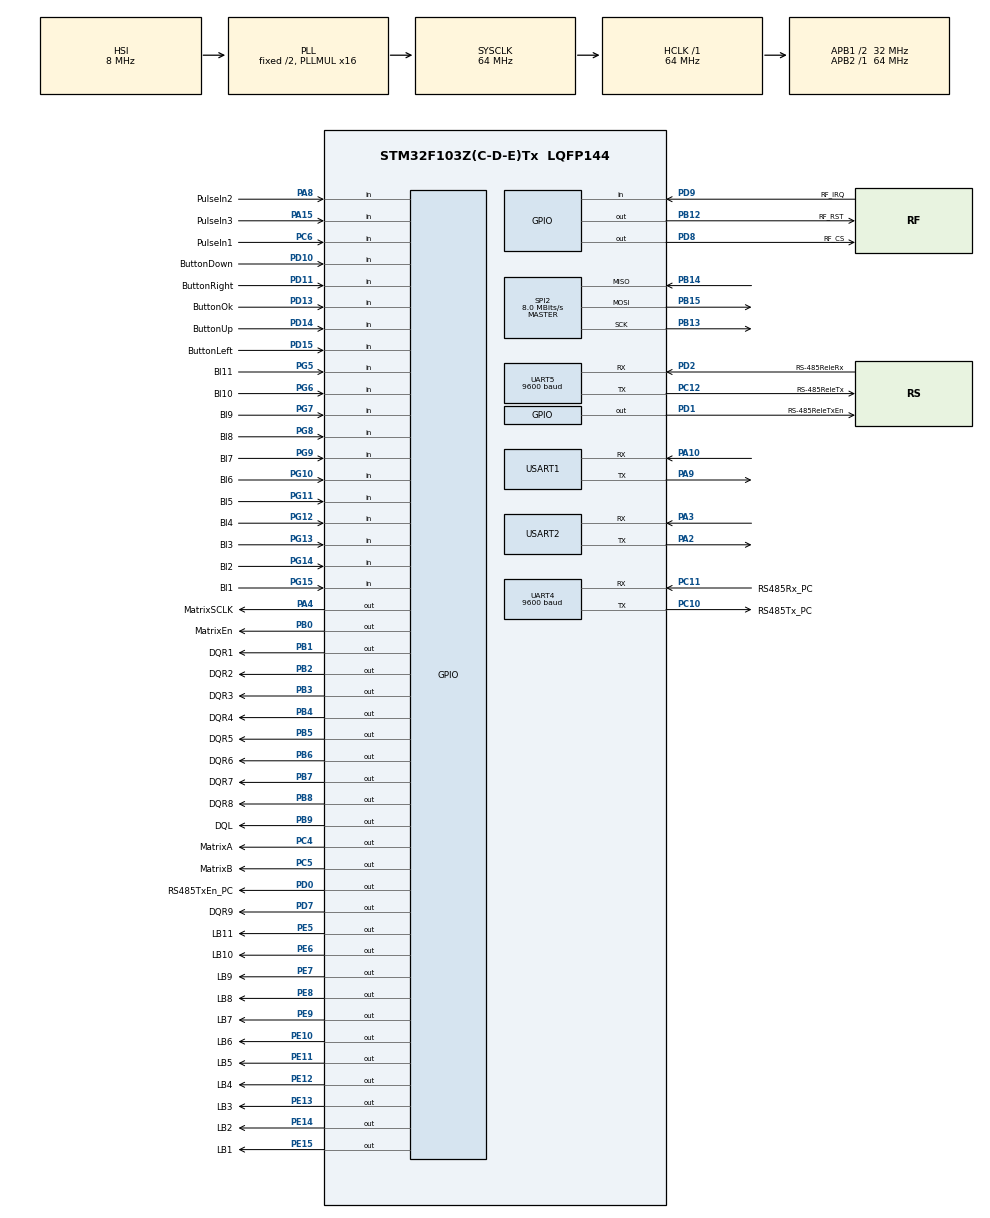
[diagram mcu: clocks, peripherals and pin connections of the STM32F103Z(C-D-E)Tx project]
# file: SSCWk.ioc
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FREERTOS.HEAP_NUMBER=1
FREERTOS.Tasks01=defaultTask,3,128,StartDefaultTask,Default,NULL,Dynamic,NULL,NULL;myTask02,-3,128,StartTask02,Default,NULL,Dynamic,NULL,NULL;myTask03,-3,128,StartTask03,Default,NULL,Dynamic,NULL,NULL;myTask04,-3,128,StartTask04,Default,NULL,Dynamic,NULL,NULL
FREERTOS.configTOTAL_HEAP_SIZE=5120
Mcu.Family=STM32F1
Mcu.Name=STM32F103Z(C-D-E)Tx
Mcu.Package=LQFP144
NVIC.PriorityGroup=NVIC_PRIORITYGROUP_4
NVIC.TIM6_IRQn=true\:0\:0\:false\:false\:true\:false\:false
NVIC.TimeBase=TIM6_IRQn
NVIC.TimeBaseIP=TIM6
PA10.Mode=Asynchronous
PA10.Signal=USART1_RX
PA13.Mode=Serial_Wire
PA13.Signal=SYS_JTMS-SWDIO
PA14.Mode=Serial_Wire
PA14.Signal=SYS_JTCK-SWCLK
PA15.GPIO_Label=PulseIn3
PA15.Signal=GPIO_Input
PA2.Mode=Asynchronous
PA2.Signal=USART2_TX
PA3.Mode=Asynchronous
PA3.Signal=USART2_RX
PA4.GPIO_Label=MatrixSCLK
PA4.Signal=GPIO_Output
PA8.GPIO_Label=PulseIn2
PA8.Signal=GPIO_Input
PA9.Mode=Asynchronous
PA9.Signal=USART1_TX
PB0.GPIO_Label=MatrixEn
PB0.Signal=GPIO_Output
PB1.GPIO_Label=DQR1
PB1.Signal=GPIO_Output
PB12.GPIO_Label=RF_RST
PB12.PinState=GPIO_PIN_SET
PB12.Signal=GPIO_Output
PB13.Mode=Full_Duplex_Master
PB13.Signal=SPI2_SCK
PB14.GPIO_PuPd=GPIO_PULLUP
PB14.Mode=Full_Duplex_Master
PB14.Signal=SPI2_MISO
PB15.Mode=Full_Duplex_Master
PB15.Signal=SPI2_MOSI
PB2.GPIO_Label=DQR2
PB2.Signal=GPIO_Output
PB3.GPIO_Label=DQR3
PB3.Signal=GPIO_Output
PB4.GPIO_Label=DQR4
PB4.Signal=GPIO_Output
PB5.GPIO_Label=DQR5
PB5.Signal=GPIO_Output
PB6.GPIO_Label=DQR6
PB6.Signal=GPIO_Output
PB7.GPIO_Label=DQR7
PB7.Signal=GPIO_Output
PB8.GPIO_Label=DQR8
PB8.Signal=GPIO_Output
PB9.GPIO_Label=DQL
PB9.Signal=GPIO_Output
PC10.GPIO_Label=RS485Tx_PC
PC10.Mode=Asynchronous
PC10.Signal=UART4_TX
PC11.GPIO_Label=RS485Rx_PC
PC11.Mode=Asynchronous
PC11.Signal=UART4_RX
PC12.GPIO_Label=RS-485ReleTx
PC12.Mode=Asynchronous
PC12.Signal=UART5_TX
PC14-OSC32_IN.Mode=LSE-External-Oscillator
PC14-OSC32_IN.Signal=RCC_OSC32_IN
PC15-OSC32_OUT.Mode=LSE-External-Oscillator
PC15-OSC32_OUT.Signal=RCC_OSC32_OUT
PC4.GPIO_Label=MatrixA
PC4.Signal=GPIO_Output
PC5.GPIO_Label=MatrixB
PC5.Signal=GPIO_Output
PC6.GPIO_Label=PulseIn1
PC6.Signal=GPIO_Input
PD0.GPIO_Label=RS485TxEn_PC
PD0.Signal=GPIO_Output
PD1.GPIO_Label=RS-485ReleTxEn
PD1.Signal=GPIO_Output
PD10.GPIO_Label=ButtonDown
PD10.Signal=GPIO_Input
PD11.GPIO_Label=ButtonRight
PD11.Signal=GPIO_Input
PD13.GPIO_Label=ButtonOk
PD13.Signal=GPIO_Input
PD14.GPIO_Label=ButtonUp
PD14.Signal=GPIO_Input
PD15.GPIO_Label=ButtonLeft
PD15.Signal=GPIO_Input
PD2.GPIO_Label=RS-485ReleRx
PD2.Mode=Asynchronous
PD2.Signal=UART5_RX
PD7.GPIO_Label=DQR9
PD7.Signal=GPIO_Output
PD8.GPIO_Label=RF_CS
PD8.PinState=GPIO_PIN_SET
PD8.Signal=GPIO_Output
PD9.GPIO_Label=RF_IRQ
PD9.Signal=GPIO_Input
PE10.GPIO_Label=LB6
PE10.Signal=GPIO_Output
PE11.GPIO_Label=LB5
PE11.Signal=GPIO_Output
PE12.GPIO_Label=LB4
PE12.Signal=GPIO_Output
PE13.GPIO_Label=LB3
PE13.Signal=GPIO_Output
PE14.GPIO_Label=LB2
PE14.Signal=GPIO_Output
PE15.GPIO_Label=LB1
PE15.Signal=GPIO_Output
PE5.GPIO_Label=LB11
PE5.Signal=GPIO_Output
PE6.GPIO_Label=LB10
PE6.Signal=GPIO_Output
PE7.GPIO_Label=LB9
PE7.Signal=GPIO_Output
PE8.GPIO_Label=LB8
PE8.Signal=GPIO_Output
PE9.GPIO_Label=LB7
PE9.Signal=GPIO_Output
PG10.GPIO_Label=BI6
PG10.Signal=GPIO_Input
PG11.GPIO_Label=BI5
PG11.Signal=GPIO_Input
PG12.GPIO_Label=BI4
PG12.Signal=GPIO_Input
PG13.GPIO_Label=BI3
PG13.Signal=GPIO_Input
PG14.GPIO_Label=BI2
PG14.Signal=GPIO_Input
PG15.GPIO_Label=BI1
PG15.Signal=GPIO_Input
PG5.GPIO_Label=BI11
PG5.Signal=GPIO_Input
PG6.GPIO_Label=BI10
PG6.Signal=GPIO_Input
PG7.GPIO_Label=BI9
PG7.Signal=GPIO_Input
PG8.GPIO_Label=BI8
PG8.Signal=GPIO_Input
PG9.GPIO_Label=BI7
PG9.Signal=GPIO_Input
ProjectManager.HeapSize=0x300
ProjectManager.StackSize=0x500
ProjectManager.TargetToolchain=MDK-ARM V5
RCC.AHBFreq_Value=64000000
RCC.APB1CLKDivider=RCC_HCLK_DIV2
RCC.APB1Freq_Value=32000000
RCC.APB1TimFreq_Value=64000000
RCC.APB2Freq_Value=64000000
RCC.APB2TimFreq_Value=64000000
RCC.HCLKFreq_Value=64000000
RCC.HSE_VALUE=12000000
RCC.PLLMUL=RCC_PLL_MUL16
RCC.RTCClockSelection=RCC_RTCCLKSOURCE_LSE
RCC.SYSCLKFreq_VALUE=64000000
RCC.SYSCLKSource=RCC_SYSCLKSOURCE_PLLCLK
RCC.USBFreq_Value=64000000
RTC.Format=RTC_FORMAT_BIN
SPI2.BaudRatePrescaler=SPI_BAUDRATEPRESCALER_4
SPI2.CalculateBaudRate=8.0 MBits/s
SPI2.Direction=SPI_DIRECTION_2LINES
SPI2.Mode=SPI_MODE_MASTER
SPI2.VirtualType=VM_MASTER
UART4.BaudRate=9600
UART4.VirtualMode=Asynchronous
UART5.BaudRate=9600
UART5.VirtualMode=Asynchronous
USART1.VirtualMode=VM_ASYNC
USART2.VirtualMode=VM_ASYNC
VP_FREERTOS_VS_ENABLE.Mode=Enabled
VP_RTC_VS_RTC_Activate.Mode=RTC_Enabled
VP_SYS_VS_tim6.Mode=TIM6
board=SSCWk

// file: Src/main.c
/**
  ******************************************************************************
  * File Name          : main.c
  * Description        : Main program body
  ******************************************************************************
  * This notice applies to any and all portions of this file
  * that are not between comment pairs USER CODE BEGIN and
  * USER CODE END. Other portions of this file, whether
  * inserted by the user or by software development tools
  * are owned by their respective copyright owners.
  *
  * Copyright (c) 2021 STMicroelectronics International N.V.
  * All rights reserved.
  *
  * Redistribution and use in source and binary forms, with or without
  * modification, are permitted, provided that the following conditions are met:
  *
  * 1. Redistribution of source code must retain the above copyright notice,
  *    this list of conditions and the following disclaimer.
  * 2. Redistributions in binary form must reproduce the above copyright notice,
  *    this list of conditions and the following disclaimer in the documentation
  *    and/or other materials provided with the distribution.
  * 3. Neither the name of STMicroelectronics nor the names of other
  *    contributors to this software may be used to endorse or promote products
  *    derived from this software without specific written permission.
  * 4. This software, including modifications and/or derivative works of this
  *    software, must execute solely and exclusively on microcontroller or
  *    microprocessor devices manufactured by or for STMicroelectronics.
  * 5. Redistribution and use of this software other than as permitted under
  *    this license is void and will automatically terminate your rights under
  *    this license.
  *
  * THIS SOFTWARE IS PROVIDED BY STMICROELECTRONICS AND CONTRIBUTORS "AS IS"
  * AND ANY EXPRESS, IMPLIED OR STATUTORY WARRANTIES, INCLUDING, BUT NOT
  * LIMITED TO, THE IMPLIED WARRANTIES OF MERCHANTABILITY, FITNESS FOR A
  * PARTICULAR PURPOSE AND NON-INFRINGEMENT OF THIRD PARTY INTELLECTUAL PROPERTY
  * RIGHTS ARE DISCLAIMED TO THE FULLEST EXTENT PERMITTED BY LAW. IN NO EVENT
  * SHALL STMICROELECTRONICS OR CONTRIBUTORS BE LIABLE FOR ANY DIRECT, INDIRECT,
  * INCIDENTAL, SPECIAL, EXEMPLARY, OR CONSEQUENTIAL DAMAGES (INCLUDING, BUT NOT
  * LIMITED TO, PROCUREMENT OF SUBSTITUTE GOODS OR SERVICES; LOSS OF USE, DATA,
  * OR PROFITS; OR BUSINESS INTERRUPTION) HOWEVER CAUSED AND ON ANY THEORY OF
  * LIABILITY, WHETHER IN CONTRACT, STRICT LIABILITY, OR TORT (INCLUDING
  * NEGLIGENCE OR OTHERWISE) ARISING IN ANY WAY OUT OF THE USE OF THIS SOFTWARE,
  * EVEN IF ADVISED OF THE POSSIBILITY OF SUCH DAMAGE.
  *
  ******************************************************************************
  */
#include "main.h"
#include "stm32f1xx_hal.h"
#include "cmsis_os.h"

/* USER CODE BEGIN Includes */
#include "MyWH1602.h"
#include "MySPI.h"
#include "MyDefines.h"
#include "MyMatrix.h"
#include "MyMainFCs.h"
#include "MyUSART_FCs.h"
#include "rc522.h"
#include "MyVendotek.h"
#include "MyRTC.h"
/* USER CODE END Includes */

RTC_HandleTypeDef hrtc;

SPI_HandleTypeDef hspi2;

UART_HandleTypeDef huart4;
UART_HandleTypeDef huart5;
UART_HandleTypeDef huart1;
UART_HandleTypeDef huart2;

osThreadId defaultTaskHandle;
osThreadId myTask02Handle;
osThreadId myTask03Handle;
osThreadId myTask04Handle;

/* USER CODE BEGIN PV */
/* Private variables ---------------------------------------------------------*/
volatile uint8_t MainMatrixArray[MatrixStreeng][MatrixColumn] =  // Массив для матрицы MatrixStreeng = 16  MatrixColumn	= 4
{{255,255,255,255},
{0x80,0,0,1},
{0x80,0,0,1},
{0x80,0,0,1},
{0x80,0,0,1},
{0x80,0,0,1},
{0x80,0,0,1},
{0x80,0,0,1},
{0x80,0,0,1},
{0x80,0,0,1},
{0x80,0,0,1},
{0x80,0,0,1},
{0x80,0,0,1},
{0x80,0,0,1},
{0x80,0,0,1},
{255,255,255,255}};

uint32_t Sum = 0;
uint32_t OldCashSum = 0;
uint32_t CashSum = 0;
//uint32_t CashlessSum = 0;
uint32_t SumFromClientCard = 0;

SettingsTypedef Settings;

//typedef struct {
//	uint32_t PulseTimeMs;				// —уммарное врем¤ импульсов в мс.
//	GPIO_PinState State;				// —осот¤ние импульсного входа 1 или 0
//	uint32_t HighStateCounter;	// —четчик времени нахождени¤ пина в высоком состо¤нии
//}PulseInParametersTupeDef;
//PulseInParametersTupeDef PI3;
//PulseInParametersTupeDef PI2;
//PulseInParametersTupeDef PI1;

ButtonStateTypeDef ButtonUp;
ButtonStateTypeDef ButtonDown;
ButtonStateTypeDef ButtonOk;
ButtonStateTypeDef ButtonLeft;
ButtonStateTypeDef ButtonRight;
uint32_t ButtonUpCounter = 0;
uint32_t ButtonDownCounter = 0;
uint32_t ButtonOkCounter = 0;
uint32_t ButtonLeftCounter = 0;
uint32_t ButtonRightCounter = 0;

ButtonStateTypeDef BI1 = ButtonReset;
ButtonStateTypeDef BI2 = ButtonReset;
ButtonStateTypeDef BI3 = ButtonReset;
ButtonStateTypeDef BI4 = ButtonReset;
ButtonStateTypeDef BI5 = ButtonReset;
ButtonStateTypeDef BI6 = ButtonReset;
ButtonStateTypeDef BI7 = ButtonReset;
ButtonStateTypeDef BI8 = ButtonReset;
ButtonStateTypeDef BI9 = ButtonReset;
ButtonStateTypeDef BI10 = ButtonReset;
ButtonStateTypeDef BI11 = ButtonReset;
ButtonStateTypeDef BI12 = ButtonReset;
ButtonStateTypeDef BI13 = ButtonReset;
ButtonStateTypeDef BI14 = ButtonReset;
ButtonStateTypeDef BI15 = ButtonReset;
ButtonStateTypeDef BI16 = ButtonReset;

MenuLstTypeDef MenuLst = SetingsMenu;
uint32_t SetingsMenuString = 0;
uint32_t OldSetingsMenuString;
uint32_t PIMenuString = 0;

SetsMenyStringsTypeDef SetsMenyStrings={
	"   Настроики    ",
	"Имп.вход.1      ",
	"Имп.вход.2      ",
	"Имп.вход.3      ",
	"Вода            ",
	"Пена            ",
	"Воск            ",
	"Осмос           ",
	"Пылесос         ",
	"Воздух          ",
	"Пауза           ",
	"Доп реж 1       ",
/*	"Доп реж 2       ",
	"Доп реж 3       ",
	"Доп реж 4       ",
	"Доп реж 5       ",
	"Доп реж 6       ",*/
	"Карты           ",
	"Vendotek        ",
	"Время           ",
	"                ",
};

PIMenyStringsTypeDef PIMenyStrings={
	"Цена имп.",
	"Длит.имп.",
	"Выход           ",
	"                ",
};

Cl_ModeMenuTypeDef ClM_MenuStrings={
	"                ",
	"Кнопка N        ",
	"Выход 1         ",
	"Режим 1         ",
	"Процент 1       ",
	"Выход 2         ",
	"Режим 2         ",
	"Процент 2       ",
	"Выход 3         ",
	"Режим 3         ",
	"Процент 3       ",
	"Выход 4         ",
	"Режим 4         ",
	"Процент 4       ",
	"Цена сек        ",
	"Выход           ",
	"                ",
};

WorkModeTypeDef WashMode = IdlMode;

volatile uint8_t ReleModuleTxBuf[ReleModuleTxBufSize];
volatile uint32_t ReleModuleTxBuf1p = 0;
volatile uint32_t ReleModuleTxBuf2p = 0;

volatile ReleOutputStateTypedef RO;
TransmissionStateTypedef TransmissionToReleModuleState = NoTransmission;

PauseMenuTypeDef PauseMenuStrings={
	"                ",
	"Беспл мин       ",
	"Цена сек        ",
	"Выход           ",
	"                ",
};

uint32_t FreePauseSeconds = 0;
uint32_t PauseAuxTimer = 0;
uint32_t SendDataToReleModuleCounter = 0;
//uint32_t SendDataToReleModuleCounter2 = 0;
uint8_t RS485PC_TransferCompleted = 1; // Установка бита завершения передачи
uint8_t PC_TxBuf[PC_TxBufSize];
volatile uint32_t PC_TxBuf1p = 0;
volatile uint32_t PC_TxBuf2p = 0;
uint8_t PC_RxBuf[PC_RxBufSize];
volatile uint32_t PC_RxBuf1p = 0;
volatile uint32_t PC_RxBuf2p = 0;

CardsMenuTypeDef CardsMenuStrings={
	"                ",
	"Ключ 1       	 ",
	"Ключ 2       	 ",
	"Ключ 3       	 ",
	"Ключ 4       	 ",
	"Ключ 5       	 ",
	"Ключ 6       	 ",
	"Скидка       	 ",
	"Бонус        	 ",
	"Кардридер    	 ",
	"Выход           ",
	"                ",
};

uint8_t blockAddr;
uint8_t sectorKeyA[16][16] = {{0x00, 0x00, 0x00, 0x00, 0x00, 0x00},
                             {0xFF, 0xFF, 0xFF, 0xFF, 0xFF, 0xFF},
                             {0xFE, 0xFF, 0xFF, 0xFF, 0xFF, 0xFF},
                             {0xFF, 0xFF, 0xFF, 0xFF, 0xFF, 0xFF},};
//uint8_t FactoryCardKey[16] = {0xFF, 0xFF, 0xFF, 0xFF, 0xFF, 0xFF};	// Заводской ключ карты
//uint8_t ReadCardKey[16] = {0xFF, 0xFF, 0xFF, 0xFF, 0xFF, 0xFF};			// Прочтенный
uint8_t RfBlockAddr;

//uint8_t RC_size;
//uint8_t status;
//uint8_t	str[MFRC522_MAX_LEN];
//uint8_t sn[/*4*/MFRC522_MAX_LEN];
//char	buff[66];
//uint8_t FactoryKeyAuthSuccessful = 0;
//uint8_t	RfStrToWrite[MFRC522_MAX_LEN] = {0xFF,0xFF,0xFF,0xFF,0xFF,0xFF,0xFF,0x07,
//																				 0x80,0x69,0xFF,0xFF,0xFF,0xFF,0xFF,0xFF,};
uint8_t DiscountReadFromCard = 0;
uint32_t CardDelay = 0;

uint8_t VendotekRxBuf[VendotekRxBufSize] = {0};
uint32_t VendotekRxBuf1p = 0;
uint32_t VendotekRxBuf2p = 0;

uint8_t TestVar = 0x00;
uint32_t RFID_TimeCounter = 0;

uint8_t VendotekTxBuf[VendotekTxBufSize] = {0};
uint32_t VendotekTxBuf1p = 0;
uint32_t VendotekTxBuf2p = 0;

uint32_t IdlPacketTimeCounter = 0;
uint8_t FirstTransfer = 0;

uint8_t VendotekTxBufAdd[VendotekTxBufSize];
//uint32_t VendotekTxBufAdd1p = 0;
//uint32_t VendotekTxBufAdd2p = 0;

uint32_t MoneyForCashlessPaymentRequest = 0;	// Деньги, которые клиент хочет оплатить через вендотек. Выбираетс кнопками.

OutputPercentTypeDef OutputPercent;

uint32_t ShowMoneyCounter = 0;

VendotekMenuTypeDef VendotekMenuStrings={
	"                ",
	"Шаг           	 ",
	"Выход           ",
	"                ",
};

uint32_t DosingCounter1 = 0;
uint32_t DosingCounter2 = 0;
uint32_t DosingCounter3 = 0;
uint32_t DosingCounter4 = 0;
uint32_t DosingCounter5 = 0;
uint32_t DosingCounter6 = 0;
uint32_t DosingCounter7 = 0;
uint32_t DosingCounter8 = 0;
uint32_t DosingCounter9 = 0;
uint32_t DosingCounter10 = 0;

uint8_t VFD_TxBuf[VFD_TxBufSize];
volatile uint32_t VFD_TxBuf1p = 0;
volatile uint32_t VFD_TxBuf2p = 0;
uint8_t VFD_RxBuf[VFD_RxBufSize];
volatile uint32_t VFD_RxBuf1p = 0;
volatile uint32_t VFD_RxBuf2p = 0;

RTCMenuTypeDef RTCMenuStrings={
	"                ",
	"Число           ",
	"Месяц           ",
	"Год             ",
	"Часы            ",
	"Минуты          ",
	"Секунды         ",
	"Выход           ",
	"                ",
};

TempRTCDataTypeDef TempRTCData;

//RTC_TimeTypeDef CurrentTime;
//RTC_DateTypeDef CurrentDate;
uint32_t RTCReadCounter = 0;

DateAndTimeTypeDef CurrentDateAndTime;
/* USER CODE END PV */

void SystemClock_Config(void);
static void MX_GPIO_Init(void);
static void MX_UART5_Init(void);
static void MX_UART4_Init(void);
static void MX_SPI2_Init(void);
static void MX_USART2_UART_Init(void);
static void MX_USART1_UART_Init(void);
static void MX_RTC_Init(void);
void StartDefaultTask(void const * argument);
void StartTask02(void const * argument);
void StartTask03(void const * argument);
void StartTask04(void const * argument);

/* USER CODE BEGIN PFP */
/* Private function prototypes -----------------------------------------------*/

/* USER CODE END PFP */

int main(void)
{

  /* MCU Configuration----------------------------------------------------------*/

  /* Reset of all peripherals, Initializes the Flash interface and the Systick. */
  HAL_Init();

  /* Configure the system clock */
  SystemClock_Config();

  /* Initialize all configured peripherals */
  MX_GPIO_Init();
  MX_UART5_Init();
  MX_UART4_Init();
  MX_SPI2_Init();
  MX_USART2_UART_Init();
  MX_USART1_UART_Init();
  MX_RTC_Init();

  /* Create the thread(s) */
  /* definition and creation of defaultTask */
  osThreadDef(defaultTask, StartDefaultTask, osPriorityRealtime, 0, 128);
  defaultTaskHandle = osThreadCreate(osThread(defaultTask), NULL);

  /* definition and creation of myTask02 */
  osThreadDef(myTask02, StartTask02, osPriorityIdle, 0, 128);
  myTask02Handle = osThreadCreate(osThread(myTask02), NULL);

  /* definition and creation of myTask03 */
  osThreadDef(myTask03, StartTask03, osPriorityIdle, 0, 128);
  myTask03Handle = osThreadCreate(osThread(myTask03), NULL);

  /* definition and creation of myTask04 */
  osThreadDef(myTask04, StartTask04, osPriorityIdle, 0, 128);
  myTask04Handle = osThreadCreate(osThread(myTask04), NULL);

  /* Start scheduler */
  osKernelStart();

  /* We should never get here as control is now taken by the scheduler */

  /* Infinite loop */
  while (1)
  {

  }

}

/** System Clock Configuration
*/
void SystemClock_Config(void)
{

  RCC_OscInitTypeDef RCC_OscInitStruct;
  RCC_ClkInitTypeDef RCC_ClkInitStruct;
  RCC_PeriphCLKInitTypeDef PeriphClkInit;

    /**Initializes the CPU, AHB and APB busses clocks
    */
  RCC_OscInitStruct.OscillatorType = RCC_OSCILLATORTYPE_HSI|RCC_OSCILLATORTYPE_LSE;
  RCC_OscInitStruct.LSEState = RCC_LSE_ON;
  RCC_OscInitStruct.HSIState = RCC_HSI_ON;
  RCC_OscInitStruct.HSICalibrationValue = 16;
  RCC_OscInitStruct.PLL.PLLState = RCC_PLL_ON;
  RCC_OscInitStruct.PLL.PLLSource = RCC_PLLSOURCE_HSI_DIV2;
  RCC_OscInitStruct.PLL.PLLMUL = RCC_PLL_MUL16;
  if (HAL_RCC_OscConfig(&RCC_OscInitStruct) != HAL_OK)
  {
    _Error_Handler(__FILE__, __LINE__);
  }

    /**Initializes the CPU, AHB and APB busses clocks
    */
  RCC_ClkInitStruct.ClockType = RCC_CLOCKTYPE_HCLK|RCC_CLOCKTYPE_SYSCLK
                              |RCC_CLOCKTYPE_PCLK1|RCC_CLOCKTYPE_PCLK2;
  RCC_ClkInitStruct.SYSCLKSource = RCC_SYSCLKSOURCE_PLLCLK;
  RCC_ClkInitStruct.AHBCLKDivider = RCC_SYSCLK_DIV1;
  RCC_ClkInitStruct.APB1CLKDivider = RCC_HCLK_DIV2;
  RCC_ClkInitStruct.APB2CLKDivider = RCC_HCLK_DIV1;

  if (HAL_RCC_ClockConfig(&RCC_ClkInitStruct, FLASH_LATENCY_2) != HAL_OK)
  {
    _Error_Handler(__FILE__, __LINE__);
  }

  PeriphClkInit.PeriphClockSelection = RCC_PERIPHCLK_RTC;
  PeriphClkInit.RTCClockSelection = RCC_RTCCLKSOURCE_LSE;
  if (HAL_RCCEx_PeriphCLKConfig(&PeriphClkInit) != HAL_OK)
  {
    _Error_Handler(__FILE__, __LINE__);
  }

    /**Configure the Systick interrupt time
    */
  HAL_SYSTICK_Config(HAL_RCC_GetHCLKFreq()/1000);

    /**Configure the Systick
    */
  HAL_SYSTICK_CLKSourceConfig(SYSTICK_CLKSOURCE_HCLK);

  /* SysTick_IRQn interrupt configuration */
  HAL_NVIC_SetPriority(SysTick_IRQn, 15, 0);
}

/* RTC init function */
static void MX_RTC_Init(void)
{

    /**Initialize RTC Only
    */
  hrtc.Instance = RTC;
  hrtc.Init.AsynchPrediv = RTC_AUTO_1_SECOND;
  hrtc.Init.OutPut = RTC_OUTPUTSOURCE_ALARM;
  if (HAL_RTC_Init(&hrtc) != HAL_OK)
  {
    _Error_Handler(__FILE__, __LINE__);
  }

}

/* SPI2 init function */
static void MX_SPI2_Init(void)
{

  /* SPI2 parameter configuration*/
  hspi2.Instance = SPI2;
  hspi2.Init.Mode = SPI_MODE_MASTER;
  hspi2.Init.Direction = SPI_DIRECTION_2LINES;
  hspi2.Init.DataSize = SPI_DATASIZE_8BIT;
  hspi2.Init.CLKPolarity = SPI_POLARITY_LOW;
  hspi2.Init.CLKPhase = SPI_PHASE_1EDGE;
  hspi2.Init.NSS = SPI_NSS_SOFT;
  hspi2.Init.BaudRatePrescaler = SPI_BAUDRATEPRESCALER_4;
  hspi2.Init.FirstBit = SPI_FIRSTBIT_MSB;
  hspi2.Init.TIMode = SPI_TIMODE_DISABLE;
  hspi2.Init.CRCCalculation = SPI_CRCCALCULATION_DISABLE;
  hspi2.Init.CRCPolynomial = 10;
  if (HAL_SPI_Init(&hspi2) != HAL_OK)
  {
    _Error_Handler(__FILE__, __LINE__);
  }

}

/* UART4 init function */
static void MX_UART4_Init(void)
{

  huart4.Instance = UART4;
  huart4.Init.BaudRate = 9600;
  huart4.Init.WordLength = UART_WORDLENGTH_8B;
  huart4.Init.StopBits = UART_STOPBITS_1;
  huart4.Init.Parity = UART_PARITY_NONE;
  huart4.Init.Mode = UART_MODE_TX_RX;
  huart4.Init.HwFlowCtl = UART_HWCONTROL_NONE;
  huart4.Init.OverSampling = UART_OVERSAMPLING_16;
  if (HAL_UART_Init(&huart4) != HAL_OK)
  {
    _Error_Handler(__FILE__, __LINE__);
  }

}

/* UART5 init function */
static void MX_UART5_Init(void)
{

  huart5.Instance = UART5;
  huart5.Init.BaudRate = 9600;
  huart5.Init.WordLength = UART_WORDLENGTH_8B;
  huart5.Init.StopBits = UART_STOPBITS_1;
  huart5.Init.Parity = UART_PARITY_NONE;
  huart5.Init.Mode = UART_MODE_TX_RX;
  huart5.Init.HwFlowCtl = UART_HWCONTROL_NONE;
  huart5.Init.OverSampling = UART_OVERSAMPLING_16;
  if (HAL_UART_Init(&huart5) != HAL_OK)
  {
    _Error_Handler(__FILE__, __LINE__);
  }

}

/* USART1 init function */
static void MX_USART1_UART_Init(void)
{

  huart1.Instance = USART1;
  huart1.Init.BaudRate = 115200;
  huart1.Init.WordLength = UART_WORDLENGTH_8B;
  huart1.Init.StopBits = UART_STOPBITS_1;
  huart1.Init.Parity = UART_PARITY_NONE;
  huart1.Init.Mode = UART_MODE_TX_RX;
  huart1.Init.HwFlowCtl = UART_HWCONTROL_NONE;
  huart1.Init.OverSampling = UART_OVERSAMPLING_16;
  if (HAL_UART_Init(&huart1) != HAL_OK)
  {
    _Error_Handler(__FILE__, __LINE__);
  }

}

/* USART2 init function */
static void MX_USART2_UART_Init(void)
{

  huart2.Instance = USART2;
  huart2.Init.BaudRate = 115200;
  huart2.Init.WordLength = UART_WORDLENGTH_8B;
  huart2.Init.StopBits = UART_STOPBITS_1;
  huart2.Init.Parity = UART_PARITY_NONE;
  huart2.Init.Mode = UART_MODE_TX_RX;
  huart2.Init.HwFlowCtl = UART_HWCONTROL_NONE;
  huart2.Init.OverSampling = UART_OVERSAMPLING_16;
  if (HAL_UART_Init(&huart2) != HAL_OK)
  {
    _Error_Handler(__FILE__, __LINE__);
  }

}

/** Configure pins as
        * Analog
        * Input
        * Output
        * EVENT_OUT
        * EXTI
*/
static void MX_GPIO_Init(void)
{

  GPIO_InitTypeDef GPIO_InitStruct;

  /* GPIO Ports Clock Enable */
  __HAL_RCC_GPIOE_CLK_ENABLE();
  __HAL_RCC_GPIOC_CLK_ENABLE();
  __HAL_RCC_GPIOA_CLK_ENABLE();
  __HAL_RCC_GPIOB_CLK_ENABLE();
  __HAL_RCC_GPIOD_CLK_ENABLE();
  __HAL_RCC_GPIOG_CLK_ENABLE();

  /*Configure GPIO pin Output Level */
  HAL_GPIO_WritePin(GPIOE, LB11_Pin|LB10_Pin|LB9_Pin|LB8_Pin
                          |LB7_Pin|LB6_Pin|LB5_Pin|LB4_Pin
                          |LB3_Pin|LB2_Pin|LB1_Pin, GPIO_PIN_RESET);

  /*Configure GPIO pin Output Level */
  HAL_GPIO_WritePin(MatrixSCLK_GPIO_Port, MatrixSCLK_Pin, GPIO_PIN_RESET);

  /*Configure GPIO pin Output Level */
  HAL_GPIO_WritePin(GPIOC, MatrixA_Pin|MatrixB_Pin, GPIO_PIN_RESET);

  /*Configure GPIO pin Output Level */
  HAL_GPIO_WritePin(GPIOB, MatrixEn_Pin|DQR1_Pin|DQR2_Pin|DQR3_Pin
                          |DQR4_Pin|DQR5_Pin|DQR6_Pin|DQR7_Pin
                          |DQR8_Pin|DQL_Pin, GPIO_PIN_RESET);

  /*Configure GPIO pin Output Level */
  HAL_GPIO_WritePin(RF_RST_GPIO_Port, RF_RST_Pin, GPIO_PIN_SET);

  /*Configure GPIO pin Output Level */
  HAL_GPIO_WritePin(RF_CS_GPIO_Port, RF_CS_Pin, GPIO_PIN_SET);

  /*Configure GPIO pin Output Level */
  HAL_GPIO_WritePin(GPIOD, RS485TxEn_PC_Pin|RS_485ReleTxEn_Pin|DQR9_Pin, GPIO_PIN_RESET);

  /*Configure GPIO pins : LB11_Pin LB10_Pin LB9_Pin LB8_Pin
                           LB7_Pin LB6_Pin LB5_Pin LB4_Pin
                           LB3_Pin LB2_Pin LB1_Pin */
  GPIO_InitStruct.Pin = LB11_Pin|LB10_Pin|LB9_Pin|LB8_Pin
                          |LB7_Pin|LB6_Pin|LB5_Pin|LB4_Pin
                          |LB3_Pin|LB2_Pin|LB1_Pin;
  GPIO_InitStruct.Mode = GPIO_MODE_OUTPUT_PP;
  GPIO_InitStruct.Speed = GPIO_SPEED_FREQ_LOW;
  HAL_GPIO_Init(GPIOE, &GPIO_InitStruct);

  /*Configure GPIO pin : MatrixSCLK_Pin */
  GPIO_InitStruct.Pin = MatrixSCLK_Pin;
  GPIO_InitStruct.Mode = GPIO_MODE_OUTPUT_PP;
  GPIO_InitStruct.Speed = GPIO_SPEED_FREQ_LOW;
  HAL_GPIO_Init(MatrixSCLK_GPIO_Port, &GPIO_InitStruct);

  /*Configure GPIO pins : MatrixA_Pin MatrixB_Pin */
  GPIO_InitStruct.Pin = MatrixA_Pin|MatrixB_Pin;
  GPIO_InitStruct.Mode = GPIO_MODE_OUTPUT_PP;
  GPIO_InitStruct.Speed = GPIO_SPEED_FREQ_LOW;
  HAL_GPIO_Init(GPIOC, &GPIO_InitStruct);

  /*Configure GPIO pins : MatrixEn_Pin DQR1_Pin DQR2_Pin RF_RST_Pin
                           DQR3_Pin DQR4_Pin DQR5_Pin DQR6_Pin
                           DQR7_Pin DQR8_Pin DQL_Pin */
  GPIO_InitStruct.Pin = MatrixEn_Pin|DQR1_Pin|DQR2_Pin|RF_RST_Pin
                          |DQR3_Pin|DQR4_Pin|DQR5_Pin|DQR6_Pin
                          |DQR7_Pin|DQR8_Pin|DQL_Pin;
  GPIO_InitStruct.Mode = GPIO_MODE_OUTPUT_PP;
  GPIO_InitStruct.Speed = GPIO_SPEED_FREQ_LOW;
  HAL_GPIO_Init(GPIOB, &GPIO_InitStruct);

  /*Configure GPIO pins : RF_CS_Pin RS485TxEn_PC_Pin RS_485ReleTxEn_Pin DQR9_Pin */
  GPIO_InitStruct.Pin = RF_CS_Pin|RS485TxEn_PC_Pin|RS_485ReleTxEn_Pin|DQR9_Pin;
  GPIO_InitStruct.Mode = GPIO_MODE_OUTPUT_PP;
  GPIO_InitStruct.Speed = GPIO_SPEED_FREQ_LOW;
  HAL_GPIO_Init(GPIOD, &GPIO_InitStruct);

  /*Configure GPIO pins : RF_IRQ_Pin ButtonDown_Pin ButtonRight_Pin ButtonOk_Pin
                           ButtonUp_Pin ButtonLeft_Pin */
  GPIO_InitStruct.Pin = RF_IRQ_Pin|ButtonDown_Pin|ButtonRight_Pin|ButtonOk_Pin
                          |ButtonUp_Pin|ButtonLeft_Pin;
  GPIO_InitStruct.Mode = GPIO_MODE_INPUT;
  GPIO_InitStruct.Pull = GPIO_NOPULL;
  HAL_GPIO_Init(GPIOD, &GPIO_InitStruct);

  /*Configure GPIO pins : BI11_Pin BI10_Pin BI9_Pin BI8_Pin
                           BI7_Pin BI6_Pin BI5_Pin BI4_Pin
                           BI3_Pin BI2_Pin BI1_Pin */
  GPIO_InitStruct.Pin = BI11_Pin|BI10_Pin|BI9_Pin|BI8_Pin
                          |BI7_Pin|BI6_Pin|BI5_Pin|BI4_Pin
                          |BI3_Pin|BI2_Pin|BI1_Pin;
  GPIO_InitStruct.Mode = GPIO_MODE_INPUT;
  GPIO_InitStruct.Pull = GPIO_NOPULL;
  HAL_GPIO_Init(GPIOG, &GPIO_InitStruct);

  /*Configure GPIO pin : PulseIn1_Pin */
  GPIO_InitStruct.Pin = PulseIn1_Pin;
  GPIO_InitStruct.Mode = GPIO_MODE_INPUT;
  GPIO_InitStruct.Pull = GPIO_NOPULL;
  HAL_GPIO_Init(PulseIn1_GPIO_Port, &GPIO_InitStruct);

  /*Configure GPIO pins : PulseIn2_Pin PulseIn3_Pin */
  GPIO_InitStruct.Pin = PulseIn2_Pin|PulseIn3_Pin;
  GPIO_InitStruct.Mode = GPIO_MODE_INPUT;
  GPIO_InitStruct.Pull = GPIO_NOPULL;
  HAL_GPIO_Init(GPIOA, &GPIO_InitStruct);

}

/* StartDefaultTask function */
void StartDefaultTask(void const * argument)
{

  /* USER CODE BEGIN 5 */
	uint32_t SettingsSize = sizeof(Settings) / 4;
	if(FLASH_Read(SettingsFlashAddress) != 0xFFFFFFFF)
	{
		for(uint32_t i = 0; i < SettingsSize; i++)
		{
			*(&Settings.ImpulsePricePI3+i) = FLASH_Read(SettingsFlashAddress + (i*4));
		}
	}
	else
	{
		SetDefaults();
	}
  /* Infinite loop */
  for(;;)
  {
		if((WashMode == IdlMode)||(WashMode == CashPaymentRecieveMode)||(WashMode == ClientCardIsRead))			// Разрешение обработки импульсных входов
		{
			PulseInputControl(&CashSum);
		}
		osDelay(1);
  }
  /* USER CODE END 5 */
}

/* StartTask02 function */
void StartTask02(void const * argument)
{
  /* USER CODE BEGIN StartTask02 */
	WH1602Init((void (*)())osDelay);
	osDelay(1);
	WH1602_Print ((char*)&SetsMenyStrings+(16*SetingsMenuString), 1, (void (*)())osDelay, 1);
	WH1602_Print ((char*)&SetsMenyStrings.StrSets+(16*SetingsMenuString)+16, 2, (void (*)())osDelay, 1);
	//WH1602_SetDDRAM_Address (0x0F);
	USART5_Transmit_Init();
	UART4_DMA_Transmit_Init();
	UART4_DMA_Receive_Init (PC_RxBuf, PC_RxBufSize);
	USART1_DMA_Receive_Init (VFD_RxBuf, VFD_RxBufSize);
	USART1_DMA_Transmit_Init();

  /* Infinite loop */
  for(;;)
  {
		ButtonsHandler();	// Обработчик нажатия кнопок
		Menu();
		//-------------------------------------- Контроль нажатия кнопок клиентом ------------------------------------------------------------
		ClientButtonsControl(&WashMode, &IdlPacketTimeCounter); 				// Контроль нажатия кнопок клиентом
		//------------------------------------------ Контроль подсветки кнопок ---------------------------------------------------------------
		ButtonLedControl(&WashMode);
		//------------------------------------------------------------------------------------------------------------------------------------

		//------------------------------------- Переход в ждущий режим -----------------------------------------------------------------------
		if((Sum == 0)&&  ((WashMode == PauseMode)  ||  ((WashMode >= Water)&&(WashMode <= Dop6Mode))))
		{
			DiscountReadFromCard = 0;
			//DiscountReadFromCardFlag = 0;
			//MoneyReadFromClientCardFlag = 0;
			WashMode = IdlMode;
			RO.Rele16State = 0;
			OldCashSum = 0;
			// Отключение всех реле
			RO.Rele1State = 0;
			RO.Rele2State = 0;
			RO.Rele3State = 0;
			RO.Rele4State = 0;
			RO.Rele5State = 0;
			RO.Rele6State = 0;
			RO.Rele7State = 0;
			RO.Rele8State = 0;
			RO.Rele9State = 0;
			RO.Rele10State = 0;
			RO.Rele11State = 0;
			RO.Rele12State = 0;
			RO.Rele13State = 0;
			RO.Rele14State = 0;
			RO.Rele15State = 0;
			RO.Rele16State = 0;
			// Отключение подсветки всех кнопок
			GPIOE->ODR &= 0x001F;
			//HAL_GPIO_WritePin(LB9_GPIO_Port, LB9_Pin, GPIO_PIN_RESET);
		}

		if((((OldCashSum == 0)&&(CashSum != 0)))&&((WashMode == IdlMode)||(WashMode == ClientCardIsRead))) //  Переход в режим приема наличных денег денег
		{
			WashMode = CashPaymentRecieveMode;
			OldCashSum = CashSum;
			HAL_GPIO_WritePin(LB1_GPIO_Port, LB1_Pin, GPIO_PIN_RESET);
			HAL_GPIO_WritePin(LB2_GPIO_Port, LB2_Pin, GPIO_PIN_RESET);
		}
		if((WashMode == PauseMode)||((WashMode >= Water)&&(WashMode <= Dop6Mode)))
		{
			OldCashSum = 0;
		}
		if(((WashMode == IdlMode)||(WashMode == ClientCardIsRead))&&(MoneyForCashlessPaymentRequest > 0)) // Переход в режим приема безналичного платежа
		{
			WashMode = CashlessPaymentRecieveMode;
			HAL_GPIO_WritePin(LB1_GPIO_Port, LB1_Pin, GPIO_PIN_RESET);
			HAL_GPIO_WritePin(LB2_GPIO_Port, LB2_Pin, GPIO_PIN_RESET);
			HAL_GPIO_WritePin(LB3_GPIO_Port, LB3_Pin, GPIO_PIN_RESET);
		}
		//----------------------------------- Управление светом -----------------------------------------------------------------------------
		if(WashMode != IdlMode)						// Управление светом
			RO.Rele10State = 1;
		else
			RO.Rele10State = 0;

		//---------------------------------- Создание тега для передачи команд в релейныймодуль ---------------------------------------------
//		SendDataToReleModuleCounter++;
//		if(SendDataToReleModuleCounter >= 1000)
//		{
//			SendDataToReleModuleCounter=0;
//			AddTag(1, sizeof(RO), (uint8_t*)&RO, (uint8_t*)ReleModuleTxBuf, (uint32_t*)&ReleModuleTxBuf1p, ReleModuleTxBufSize);
//			AddTag(2, sizeof(OutputPercent), (uint8_t*)&OutputPercent, (uint8_t*)ReleModuleTxBuf, (uint32_t*)&ReleModuleTxBuf1p, ReleModuleTxBufSize);
//		}
////		SendDataToReleModuleCounter2++;
////		if(SendDataToReleModuleCounter2 >= 5000)
////		{
////			SendDataToReleModuleCounter2 = 0;
////			AddTag(2, sizeof(OutputPercent), (uint8_t*)&OutputPercent, (uint8_t*)ReleModuleTxBuf, (uint32_t*)&ReleModuleTxBuf1p, ReleModuleTxBufSize);
////		}

		//----------------------------------- Передача данных из буфера в релейный модуль ----------------------------------------------------
//		if((ReleModuleTxBuf1p != ReleModuleTxBuf2p)&&(TransmissionToReleModuleState == NoTransmission))
//		{
//			TransmissionToReleModuleState = TransmissionInProcess;
//			HAL_GPIO_WritePin(RS_485ReleTxEn_GPIO_Port, RS_485ReleTxEn_Pin, GPIO_PIN_SET);
//			UART5->DR = ReleModuleTxBuf[ReleModuleTxBuf2p++];
//			ReleModuleTxBuf2p %= ReleModuleTxBufSize;
//			UART5->CR1 |= USART_CR1_TXEIE; // Разрешение прерывания
//		}

		/*--------------------------------------------------------- Управление реле -------------------------------------------------------------------------*/
		DOControlFc(RO.Rele1Mode, RO.Rele1State, DQR1_GPIO_Port, DQR1_Pin, OutputPercent.Out1Percent, &DosingCounter1);
		DOControlFc(RO.Rele2Mode, RO.Rele2State, DQR2_GPIO_Port, DQR2_Pin, OutputPercent.Out2Percent, &DosingCounter2);
		DOControlFc(RO.Rele3Mode, RO.Rele3State, DQR3_GPIO_Port, DQR3_Pin, OutputPercent.Out3Percent, &DosingCounter3);
		DOControlFc(RO.Rele4Mode, RO.Rele4State, DQR4_GPIO_Port, DQR4_Pin, OutputPercent.Out4Percent, &DosingCounter4);
		DOControlFc(RO.Rele5Mode, RO.Rele5State, DQR5_GPIO_Port, DQR5_Pin, OutputPercent.Out5Percent, &DosingCounter5);
		DOControlFc(RO.Rele6Mode, RO.Rele6State, DQR6_GPIO_Port, DQR6_Pin, OutputPercent.Out6Percent, &DosingCounter6);
		DOControlFc(RO.Rele7Mode, RO.Rele7State, DQR7_GPIO_Port, DQR7_Pin, OutputPercent.Out7Percent, &DosingCounter7);
		DOControlFc(RO.Rele8Mode, RO.Rele8State, DQR8_GPIO_Port, DQR8_Pin, OutputPercent.Out8Percent, &DosingCounter8);
		DOControlFc(RO.Rele9Mode, RO.Rele9State, DQR9_GPIO_Port, DQR9_Pin, OutputPercent.Out9Percent, &DosingCounter9);
		DOControlFc(RO.Rele10Mode, RO.Rele10State, DQL_GPIO_Port, DQL_Pin, OutputPercent.Out10Percent, &DosingCounter10);
		/*---------------------------------------------------------------------------------------------------------------------------------------------------*/

		//--------------------------------------- Отображение денег на табло ----------------------------------------------------------------------------------
		ShowMoneyCounter++;
		if(ShowMoneyCounter > 500)
		{
			if(((WashMode >= Water)&&(WashMode <= Dop6Mode)) || ((WashMode == PauseMode)&&(FreePauseSeconds == 0)) || (WashMode == ReadyToWash))	// Отображение остатка денег
			{
				Money(&WashMode, Sum, (uint32_t *) &MainMatrixArray[0][0]);
			}

			if(WashMode == CashPaymentRecieveMode)
			{
				Money(&WashMode, CashSum, (uint32_t *) &MainMatrixArray[0][0]);
			}

			if((WashMode == CashlessPaymentRecieveMode)||(WashMode == WaitBankCard))											// Отображение суммы, которую собирается оплатить клиент по безналичному рассчету
			{
				Money(&WashMode, MoneyForCashlessPaymentRequest, (uint32_t *) &MainMatrixArray[0][0]);
			}

			if(WashMode == ClientCardIsRead)
			{
				Money(&WashMode, SumFromClientCard, (uint32_t *) &MainMatrixArray[0][0]);
			}
			ShowMoneyCounter = 0;
		}

		//------------------------------------------------------------------------------------------------------------------------------------------------------

		if((WashMode == PauseMode)&&(FreePauseSeconds != 0))																					// Отображение оставшегося времени бесплатной паузы
		{
			PauseTimeDisplaying(&WashMode, FreePauseSeconds, (uint32_t *) &MainMatrixArray[0][0]);
		}

		MoneySubtraction(&WashMode, &Sum);														// Уменьшение остатка денег

		/*-------------------------------------------------- Передача данных в комп через RS-485 ------------------------------------------------------------*/
		PC_RS485Send();
		/*---------------------------------------------------------------------------------------------------------------------------------------------------*/

		VendotekRxBuf1p = VendotekRxBufSize - DMA1_Channel6 -> CNDTR;

    osDelay(1);
  }
  /* USER CODE END StartTask02 */
}

/* StartTask03 function */
void StartTask03(void const * argument)
{
  /* USER CODE BEGIN StartTask03 */
	MatrixSPI_Init();
	MatrixSPI_Init();
	MFRC522_Init();
	//CharCounter = 0;
	RfBlockAddr = 1;
  /* Infinite loop */
  for(;;)
  {
//		WH1602_SetDDRAM_Address (0x40);
//		osDelay(1);
//		WH1602SendByte(CharCounter, RS_Data, RW_Write);
//		osDelay(1);
//		CharCounter++;
//    osDelay(1000);

		Welcom(&WashMode);
//		Money(&WashMode, Sum, (uint32_t *) &MainMatrixArray[0][0]);
		InscriptionSelectMode(&WashMode, (uint32_t *) &MainMatrixArray[8][0]);	// Выводит надпись "Выберите режим" во время приема наличных денег
		InscriptionWater(&WashMode,(uint32_t *) &MainMatrixArray[8][0]);
		InscriptionFoam(&WashMode,(uint32_t *) &MainMatrixArray[8][0]);
		InscriptionWax(&WashMode,(uint32_t *) &MainMatrixArray[8][0]);
		InscriptionOsmos(&WashMode,(uint32_t *) &MainMatrixArray[8][0]);
		InscriptionVacuumCliner(&WashMode,(uint32_t *) &MainMatrixArray[8][0]);
		InscriptionAir(&WashMode,(uint32_t *) &MainMatrixArray[8][0]);
		InscriptionPause(&WashMode,(uint32_t *) &MainMatrixArray[8][0]);
		InscriptionSelectTheAmountAndClickOk(&WashMode, (uint32_t *) &MainMatrixArray[8][0]); //	Выводит надпись "Выберите сумму и нажмите ОК"
		InscriptionAttachABankCard (&WashMode, (uint32_t *) &MainMatrixArray[8][0]);
		InscriptionSelectModeOrMakePayment(&WashMode, (uint32_t *) &MainMatrixArray[8][0]);
		InscriptionDop(&WashMode, (uint32_t *) &MainMatrixArray[8][0]);
    osDelay(1);
  }
  /* USER CODE END StartTask03 */
}

/* StartTask04 function */
void StartTask04(void const * argument)
{
  /* USER CODE BEGIN StartTask04 */
	USART2_DMA_Transmit_Init();
	USART2_DMA_Receive_Init (VendotekRxBuf, VendotekRxBufSize);

  /* Infinite loop */
  for(;;)
  {
		if(Settings.RFID_OnOff == 1)	// Если считыватель RFID включен в настройках
		{
			RFID_TimeCounter++;
			if(RFID_TimeCounter >= 2000)
			{
				#ifndef CardsFactoryReset
				if(CardDelay > 0)
				{
					CardDelay--;
				}
				if((WashMode == IdlMode)&&(CardDelay == 0))
				{
					CardPersonalization((void (*)())osDelay, Settings.CardDiscount, Settings.CardBonus, &Settings.CardKey1);
				}
				if((WashMode == IdlMode)&&(CardDelay == 0))
				{
					GetMoneyFromCard((void (*)())osDelay, &Settings.CardKey1, &DiscountReadFromCard, &SumFromClientCard, &WashMode);
				}
				if((WashMode == PauseMode)&&(Sum != 0)&&(CardDelay == 0))
				{
					SaveMoneyToCard((void (*)())osDelay, &Settings.CardKey1, &Sum, &WashMode, &CardDelay);
				}
				#endif
				#ifdef CardsFactoryReset
				ResetCardToTheFactoryState((void (*)())osDelay, &Settings.CardKey1);
				#endif
				RFID_TimeCounter = 0;

			}
		}

		// ------------------------------ Передача IDL пакета в Vendotek ------------------------------------
		IdlPacketTimeCounter++;
		if((IdlPacketTimeCounter >= LastKeepaliveIntervalInSeconds * 1000)&&(IdlMessageBlock == 0))
		{
			IdlPacketTimeCounter = 0;
			SendIdlPacket(lastOperationNumber, VendotekTxBuf, &VendotekTxBuf1p, VendotekTxBufSize);
		}

		//-------------------------------- Отправка данных из буфера в Vendotek --------------------------------------------------
		if(FirstTransfer == 0)
		{
			FirstTransfer = 1;
			USART2_DMA_Transmit (&TestVar, 1);
		}
		if ((VendotekTxBuf1p!=VendotekTxBuf2p)&&(USART2->SR & USART_SR_TXE)&&(DMA1->ISR & DMA_ISR_TCIF7))																			// Проверяем, появилось ли что - нибудь для отправки в отладочный порт
		{
				if(VendotekTxBuf1p>VendotekTxBuf2p)																	//Если убегающий указатель больше догоняющего
				{
					uint16_t SendDataLen = VendotekTxBuf1p - VendotekTxBuf2p;					//То вычисляем длину куска, который нужно передать
					USART2_DMA_Transmit (&VendotekTxBuf[VendotekTxBuf2p], SendDataLen);	//Передаем кусок данных через DMA
					VendotekTxBuf2p = VendotekTxBuf2p+SendDataLen;											//Приравниваем догоняющую метку к убегающей
				}
				else if (VendotekTxBuf1p<VendotekTxBuf2p)
				{
					uint16_t SendDataLen1 = VendotekTxBufSize - VendotekTxBuf2p;			// Вычисляем длину куска, который нужно передать до конца буфера
					uint16_t SendDataLen2 = VendotekTxBuf1p;													// Вычисляем длину куска, который нужно передать от начала буфера
					uint16_t SendDataLen = SendDataLen1 + SendDataLen2;								// Суммарная длина данных, которые нужно передать
					for(uint16_t i = 0; i < SendDataLen; i++)
					{
						VendotekTxBufAdd[i] = VendotekTxBuf[VendotekTxBuf2p++];					// Копируем данные в новый буфер
						VendotekTxBuf2p %= VendotekTxBufSize;															// Закольцовка
						if(i > VendotekTxBufSize) break;
					}
					USART2_DMA_Transmit (VendotekTxBufAdd, SendDataLen);										//Передаем кусок данных через DMA
				}

		}
		//---------------------------- Парсинг данных, принятых от Vendotek -----------------------------------------------------------
		VendotekParsing();
		//-----------------------------------------------------------------------------------------------------------------------------
		//---------------------------------------------- Чтение часов реального времени -----------------------------------------------
		RTCReadCounter++;
		if(RTCReadCounter >= 1000)
		{
			RTCReadCounter = 0;
			unixtime_to_datetime(GetUnixTime(), &CurrentDateAndTime);
			//HAL_RTC_GetTime(&hrtc, &CurrentTime, RTC_FORMAT_BIN);
			//HAL_RTC_GetDate(&hrtc, &CurrentDate, RTC_FORMAT_BIN);
		}
		//-----------------------------------------------------------------------------------------------------------------------------
    osDelay(1);
  }
  /* USER CODE END StartTask04 */
}

void HAL_TIM_PeriodElapsedCallback(TIM_HandleTypeDef *htim)
{
  if (htim->Instance == TIM6) {
    HAL_IncTick();
  }
}

void _Error_Handler(char * file, int line)
{
  while(1)
  {
  }
}

/************************ (C) COPYRIGHT STMicroelectronics *****END OF FILE****/
